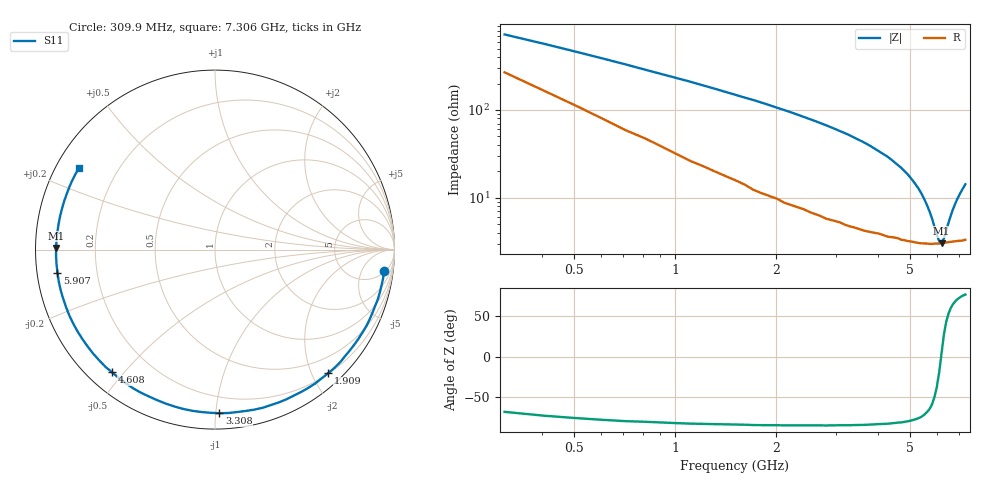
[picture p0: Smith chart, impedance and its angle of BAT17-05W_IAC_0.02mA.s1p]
! Infineon Technologies  Discrete & RF Semiconductors
! BAT17-05W
! IAC = 0.02 mA
! One-Port S-Parameters
# Hz  S  MA  R  50
!f  S11
!Hz  Mag  Ang
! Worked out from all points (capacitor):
!   71 points, 309.9 MHz to 7.306 GHz, reference 50 ohm
!   read as one part to ground: C = 718 fF near 309.9 MHz
!   lowest |Z| = 3.04 ohm at 6.207 GHz (marker M1)
!   series resonance near 6.188 GHz, so ESL is about 920 pH
!   S11 on the Smith chart (normalised r, x): 309.9 MHz: 5, -13; 1.909 GHz: 0.21, -2.25; 3.308 GHz: 0.09, -1.02; 4.608 GHz: 0.07, -0.46; 5.907 GHz: 0.06, -0.07; 7.306 GHz: 0.07, +0.28
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3.0985e8  0.9503 -7.3
7.0965e8  0.9487 -16.9
1.0095e9  0.9452 -24.3
1.2094e9  0.9426 -29.2
1.70915e9  0.9383 -42.0
1.90905e9  0.934 -47.5
2.10895e9  0.9318 -53.1
2.4088e9  0.9246 -61.7
2.6087e9  0.9224 -67.5
2.8086e9  0.9205 -73.3
3.0085e9  0.9151 -79.5
3.30835e9  0.9119 -88.5
3.6082e9  0.9071 -97.8
3.8081e9  0.9029 -104.4
4.10795e9  0.8974 -114.2
4.30785e9  0.8975 -120.1
4.6077e9  0.8924 -130.1
4.70765e9  0.8939 -133.0
5.0075e9  0.8915 -142.9
5.2074e9  0.8911 -149.3
5.4073e9  0.8906 -155.7
5.6072e9  0.8889 -162.2
5.90705e9  0.887 -171.7
6.2069e9  0.8858 179.4
6.50675e9  0.883 170.5
6.8066e9  0.8827 162.1
7.10645e9  0.8838 154.1
7.30635e9  0.8836 148.9
